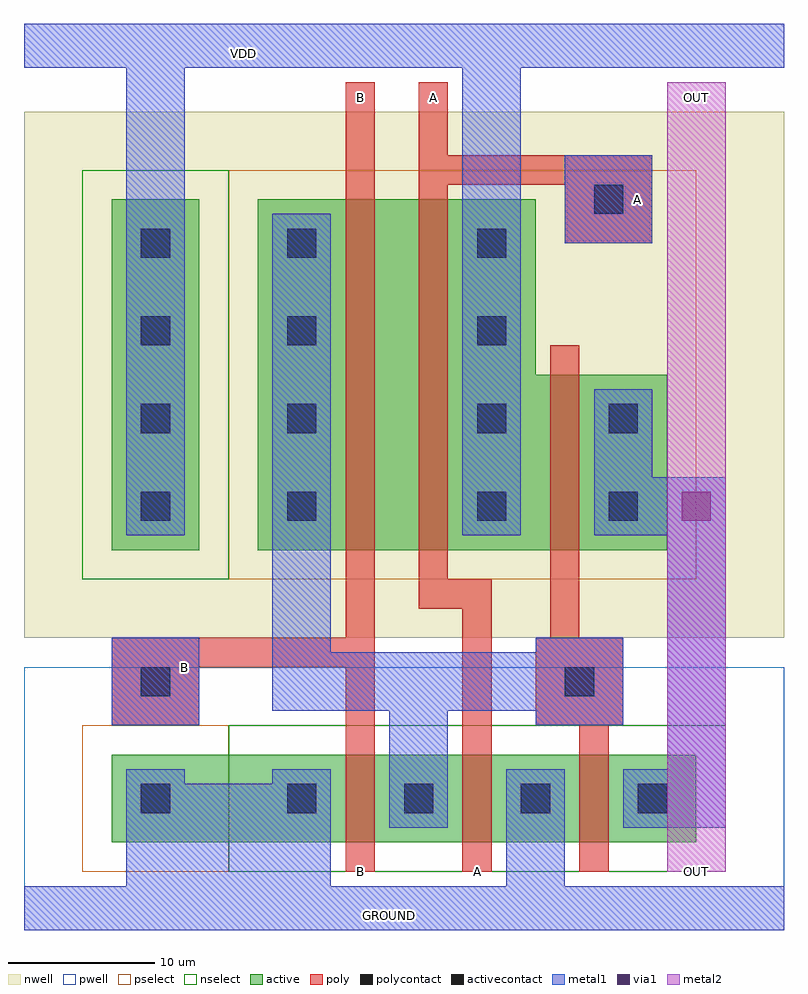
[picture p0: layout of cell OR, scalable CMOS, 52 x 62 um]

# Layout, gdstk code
import gdstk
lib = gdstk.Library(unit=1e-6, precision=1e-09)
def R(c, l, rs):  # rectangles x0, y0, x1, y1
    for r in rs: c.add(gdstk.rectangle(r[:2], r[2:], *l))
def A(c, l, x, y, w, h, nx, ny, dx, dy):  # array of equal rectangles
    R(c, l, [(x+i*dx, y+j*dy, x+i*dx+w, y+j*dy+h) for i in range(nx) for j in range(ny)])
def P(c, l, *ps):  # polygons
    for p in ps: c.add(gdstk.Polygon(p, *l))
pwell = (41, 0)
nwell = (42, 0)
active = (43, 0)
pselect = (44, 0)
nselect = (45, 0)
poly = (46, 0)
polycontact = (47, 0)
activecontact = (48, 0)
metal1 = (49, 0)
via1 = (50, 0)
metal2 = (51, 0)

c_or = lib.new_cell('OR')
R(c_or, pwell, [(-67,8,-15,26)])
R(c_or, nwell, [(-67,28,-15,64)])
R(c_or, active, [(-61,14,-21,20), (-61,34,-55,58)])
P(c_or, active, [(-51,34),(-23,34),(-23,46),(-32,46),(-32,58),(-51,58)])
R(c_or, pselect, [(-63,12,-53,22), (-53,32,-21,60)])
R(c_or, nselect, [(-53,12,-19,22), (-63,32,-53,60)])
P(c_or, poly, [(-32,22),(-29,22),(-29,12),(-27,12),(-27,22),(-26,22),(-26,28),(-29,28),(-29,48),(-31,48),(-31,28),(-32,28)],
  [(-40,30),(-37,30),(-37,12),(-35,12),(-35,32),(-38,32),(-38,59),(-30,59),(-30,55),(-24,55),(-24,61),(-38,61),(-38,66),(-40,66)],
  [(-61,22),(-55,22),(-55,26),(-45,26),(-45,12),(-43,12),(-43,66),(-45,66),(-45,28),(-61,28)])
R(c_or, polycontact, [(-59,24,-57,26), (-30,24,-28,26), (-28,57,-26,59)])
A(c_or, activecontact, -49, 16, 2, 2, 4, 1, 8, 0)
A(c_or, activecontact, -59, 36, 2, 2, 1, 4, 0, 6)
A(c_or, activecontact, -49, 36, 2, 2, 1, 4, 0, 6)
A(c_or, activecontact, -36, 36, 2, 2, 1, 4, 0, 6)
R(c_or, activecontact, [(-59,16,-57,18), (-27,36,-25,38), (-27,42,-25,44)])
R(c_or, metal1, [(-61,22,-55,28), (-30,55,-24,61)])
P(c_or, metal1, [(-67,67),(-60,67),(-60,35),(-56,35),(-56,67),(-37,67),(-37,35),(-33,35),(-33,67),(-15,67),(-15,70),(-67,70)],
  [(-67,8),(-15,8),(-15,11),(-30,11),(-30,19),(-34,19),(-34,11),(-46,11),(-46,19),(-50,19),(-50,18),(-56,18),(-56,19),(-60,19),(-60,11),(-67,11)],
  [(-50,23),(-42,23),(-42,15),(-38,15),(-38,23),(-32,23),(-32,22),(-26,22),(-26,28),(-32,28),(-32,27),(-46,27),(-46,57),(-50,57)],
  [(-28,35),(-23,35),(-23,19),(-26,19),(-26,15),(-19,15),(-19,39),(-24,39),(-24,45),(-28,45)])
R(c_or, via1, [(-22,36,-20,38)])
R(c_or, metal2, [(-23,12,-19,66)])
c_or.add(gdstk.Label('OUT', (-21,65), layer=3, texttype=0))
c_or.add(gdstk.Label('OUT', (-21,12), layer=3, texttype=0))
c_or.add(gdstk.Label('B', (-44,12), layer=49, texttype=0))
c_or.add(gdstk.Label('A', (-36,12), layer=49, texttype=0))
c_or.add(gdstk.Label('B', (-44,65), layer=49, texttype=0))
c_or.add(gdstk.Label('A', (-39,65), layer=49, texttype=0))
c_or.add(gdstk.Label('VDD', (-52,68), layer=2, texttype=0))
c_or.add(gdstk.Label('B', (-56,26), layer=2, texttype=0))
c_or.add(gdstk.Label('GROUND', (-42,9), layer=2, texttype=0))
c_or.add(gdstk.Label('A', (-25,58), layer=2, texttype=0))

lib.write_gds('OR.gds')
